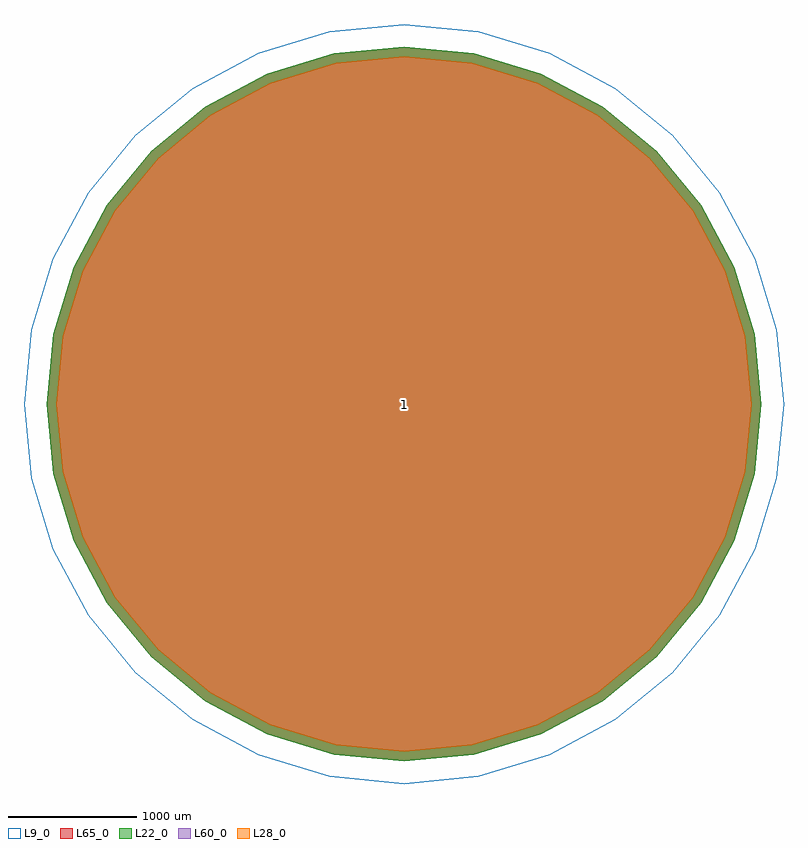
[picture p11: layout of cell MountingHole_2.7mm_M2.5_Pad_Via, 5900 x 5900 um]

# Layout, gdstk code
import gdstk
lib = gdstk.Library(unit=1e-6, precision=1e-09)
def P(c, l, *ps):  # polygons
    for p in ps: c.add(gdstk.Polygon(p, *l))
L9_0 = (9, 0)
L22_0 = (22, 0)
L28_0 = (28, 0)
L60_0 = (60, 0)
L65_0 = (65, 0)

mountinghole_2_7mm_m2_5_ = lib.new_cell('MountingHole_2.7mm_M2.5_Pad_Via')
P(mountinghole_2_7mm_m2_5_, L9_0, [(2950,0),(2893.317,575.516),(2725.445,1128.916),(2452.835,1638.932),(2085.965,2085.965),(1638.932,2452.835),(1128.916,2725.445),(575.516,2893.317),(0,2950),(-575.516,2893.317),(-1128.916,2725.445),(-1638.932,2452.835),(-2085.965,2085.965),(-2452.835,1638.932),(-2725.445,1128.916),(-2893.317,575.516),(-2950,0),(-2893.317,-575.516),(-2725.445,-1128.916),(-2452.835,-1638.932),(-2085.965,-2085.965),(-1638.932,-2452.835),(-1128.916,-2725.445),(-575.516,-2893.317),(0,-2950),(575.516,-2893.317),(1128.916,-2725.445),(1638.932,-2452.835),(2085.965,-2085.965),(2452.835,-1638.932),(2725.445,-1128.916),(2893.317,-575.516)],
  [(2700,0),(2648.12,526.744),(2494.475,1033.245),(2244.968,1500.04),(1909.188,1909.188),(1500.04,2244.968),(1033.245,2494.475),(526.744,2648.12),(0,2700),(-526.744,2648.12),(-1033.245,2494.475),(-1500.04,2244.968),(-1909.188,1909.188),(-2244.968,1500.04),(-2494.475,1033.245),(-2648.12,526.744),(-2700,0),(-2648.12,-526.744),(-2494.475,-1033.245),(-2244.968,-1500.04),(-1909.188,-1909.188),(-1500.04,-2244.968),(-1033.245,-2494.475),(-526.744,-2648.12),(0,-2700),(526.744,-2648.12),(1033.245,-2494.475),(1500.04,-2244.968),(1909.188,-1909.188),(2244.968,-1500.04),(2494.475,-1033.245),(2648.12,-526.744)])
P(mountinghole_2_7mm_m2_5_, L22_0, [(1806.891,1431.891),(1799.685,1505.05),(1778.346,1575.397),(1743.692,1640.23),(1697.056,1697.056),(1640.23,1743.692),(1575.397,1778.346),(1505.05,1799.685),(1431.891,1806.891),(1358.732,1799.685),(1288.385,1778.346),(1223.552,1743.692),(1166.726,1697.056),(1120.09,1640.23),(1085.436,1575.397),(1064.097,1505.05),(1056.891,1431.891),(1064.097,1358.732),(1085.436,1288.385),(1120.09,1223.552),(1166.726,1166.726),(1223.552,1120.09),(1288.385,1085.436),(1358.732,1064.097),(1431.891,1056.891),(1505.05,1064.097),(1575.397,1085.436),(1640.23,1120.09),(1697.056,1166.726),(1743.692,1223.552),(1778.346,1288.385),(1799.685,1358.732)],
  [(375,2025),(367.794,2098.159),(346.455,2168.506),(311.801,2233.339),(265.165,2290.165),(208.339,2336.801),(143.506,2371.455),(73.159,2392.794),(0,2400),(-73.159,2392.794),(-143.506,2371.455),(-208.339,2336.801),(-265.165,2290.165),(-311.801,2233.339),(-346.455,2168.506),(-367.794,2098.159),(-375,2025),(-367.794,1951.841),(-346.455,1881.494),(-311.801,1816.661),(-265.165,1759.835),(-208.339,1713.199),(-143.506,1678.545),(-73.159,1657.206),(0,1650),(73.159,1657.206),(143.506,1678.545),(208.339,1713.199),(265.165,1759.835),(311.801,1816.661),(346.455,1881.494),(367.794,1951.841)],
  [(-1056.891,1431.891),(-1064.097,1505.05),(-1085.436,1575.397),(-1120.09,1640.23),(-1166.726,1697.056),(-1223.552,1743.692),(-1288.385,1778.346),(-1358.732,1799.685),(-1431.891,1806.891),(-1505.05,1799.685),(-1575.397,1778.346),(-1640.23,1743.692),(-1697.056,1697.056),(-1743.692,1640.23),(-1778.346,1575.397),(-1799.685,1505.05),(-1806.891,1431.891),(-1799.685,1358.732),(-1778.346,1288.385),(-1743.692,1223.552),(-1697.056,1166.726),(-1640.23,1120.09),(-1575.397,1085.436),(-1505.05,1064.097),(-1431.891,1056.891),(-1358.732,1064.097),(-1288.385,1085.436),(-1223.552,1120.09),(-1166.726,1166.726),(-1120.09,1223.552),(-1085.436,1288.385),(-1064.097,1358.732)],
  [(-1650,0),(-1657.206,73.159),(-1678.545,143.506),(-1713.199,208.339),(-1759.835,265.165),(-1816.661,311.801),(-1881.494,346.455),(-1951.841,367.794),(-2025,375),(-2098.159,367.794),(-2168.506,346.455),(-2233.339,311.801),(-2290.165,265.165),(-2336.801,208.339),(-2371.455,143.506),(-2392.794,73.159),(-2400,0),(-2392.794,-73.159),(-2371.455,-143.506),(-2336.801,-208.339),(-2290.165,-265.165),(-2233.339,-311.801),(-2168.506,-346.455),(-2098.159,-367.794),(-2025,-375),(-1951.841,-367.794),(-1881.494,-346.455),(-1816.661,-311.801),(-1759.835,-265.165),(-1713.199,-208.339),(-1678.545,-143.506),(-1657.206,-73.159)],
  [(-1056.891,-1431.891),(-1064.097,-1358.732),(-1085.436,-1288.385),(-1120.09,-1223.552),(-1166.726,-1166.726),(-1223.552,-1120.09),(-1288.385,-1085.436),(-1358.732,-1064.097),(-1431.891,-1056.891),(-1505.05,-1064.097),(-1575.397,-1085.436),(-1640.23,-1120.09),(-1697.056,-1166.726),(-1743.692,-1223.552),(-1778.346,-1288.385),(-1799.685,-1358.732),(-1806.891,-1431.891),(-1799.685,-1505.05),(-1778.346,-1575.397),(-1743.692,-1640.23),(-1697.056,-1697.056),(-1640.23,-1743.692),(-1575.397,-1778.346),(-1505.05,-1799.685),(-1431.891,-1806.891),(-1358.732,-1799.685),(-1288.385,-1778.346),(-1223.552,-1743.692),(-1166.726,-1697.056),(-1120.09,-1640.23),(-1085.436,-1575.397),(-1064.097,-1505.05)],
  [(375,-2025),(367.794,-1951.841),(346.455,-1881.494),(311.801,-1816.661),(265.165,-1759.835),(208.339,-1713.199),(143.506,-1678.545),(73.159,-1657.206),(0,-1650),(-73.159,-1657.206),(-143.506,-1678.545),(-208.339,-1713.199),(-265.165,-1759.835),(-311.801,-1816.661),(-346.455,-1881.494),(-367.794,-1951.841),(-375,-2025),(-367.794,-2098.159),(-346.455,-2168.506),(-311.801,-2233.339),(-265.165,-2290.165),(-208.339,-2336.801),(-143.506,-2371.455),(-73.159,-2392.794),(0,-2400),(73.159,-2392.794),(143.506,-2371.455),(208.339,-2336.801),(265.165,-2290.165),(311.801,-2233.339),(346.455,-2168.506),(367.794,-2098.159)],
  [(1806.891,-1431.891),(1799.685,-1358.732),(1778.346,-1288.385),(1743.692,-1223.552),(1697.056,-1166.726),(1640.23,-1120.09),(1575.397,-1085.436),(1505.05,-1064.097),(1431.891,-1056.891),(1358.732,-1064.097),(1288.385,-1085.436),(1223.552,-1120.09),(1166.726,-1166.726),(1120.09,-1223.552),(1085.436,-1288.385),(1064.097,-1358.732),(1056.891,-1431.891),(1064.097,-1505.05),(1085.436,-1575.397),(1120.09,-1640.23),(1166.726,-1697.056),(1223.552,-1743.692),(1288.385,-1778.346),(1358.732,-1799.685),(1431.891,-1806.891),(1505.05,-1799.685),(1575.397,-1778.346),(1640.23,-1743.692),(1697.056,-1697.056),(1743.692,-1640.23),(1778.346,-1575.397),(1799.685,-1505.05)],
  [(2400,0),(2392.794,73.159),(2371.455,143.506),(2336.801,208.339),(2290.165,265.165),(2233.339,311.801),(2168.506,346.455),(2098.159,367.794),(2025,375),(1951.841,367.794),(1881.494,346.455),(1816.661,311.801),(1759.835,265.165),(1713.199,208.339),(1678.545,143.506),(1657.206,73.159),(1650,0),(1657.206,-73.159),(1678.545,-143.506),(1713.199,-208.339),(1759.835,-265.165),(1816.661,-311.801),(1881.494,-346.455),(1951.841,-367.794),(2025,-375),(2098.159,-367.794),(2168.506,-346.455),(2233.339,-311.801),(2290.165,-265.165),(2336.801,-208.339),(2371.455,-143.506),(2392.794,-73.159)],
  [(2775,0),(2721.679,541.376),(2563.766,1061.947),(2307.328,1541.707),(1962.221,1962.221),(1541.707,2307.328),(1061.947,2563.766),(541.376,2721.679),(0,2775),(-541.376,2721.679),(-1061.947,2563.766),(-1541.707,2307.328),(-1962.221,1962.221),(-2307.328,1541.707),(-2563.766,1061.947),(-2721.679,541.376),(-2775,0),(-2721.679,-541.376),(-2563.766,-1061.947),(-2307.328,-1541.707),(-1962.221,-1962.221),(-1541.707,-2307.328),(-1061.947,-2563.766),(-541.376,-2721.679),(0,-2775),(541.376,-2721.679),(1061.947,-2563.766),(1541.707,-2307.328),(1962.221,-1962.221),(2307.328,-1541.707),(2563.766,-1061.947),(2721.679,-541.376)])
P(mountinghole_2_7mm_m2_5_, L28_0, [(1731.891,1431.891),(1726.127,1490.418),(1709.055,1546.696),(1681.332,1598.562),(1644.023,1644.023),(1598.562,1681.332),(1546.696,1709.055),(1490.418,1726.127),(1431.891,1731.891),(1373.364,1726.127),(1317.086,1709.055),(1265.22,1681.332),(1219.759,1644.023),(1182.45,1598.562),(1154.727,1546.696),(1137.655,1490.418),(1131.891,1431.891),(1137.655,1373.364),(1154.727,1317.086),(1182.45,1265.22),(1219.759,1219.759),(1265.22,1182.45),(1317.086,1154.727),(1373.364,1137.655),(1431.891,1131.891),(1490.418,1137.655),(1546.696,1154.727),(1598.562,1182.45),(1644.023,1219.759),(1681.332,1265.22),(1709.055,1317.086),(1726.127,1373.364)],
  [(300,2025),(294.236,2083.527),(277.164,2139.805),(249.441,2191.671),(212.132,2237.132),(166.671,2274.441),(114.805,2302.164),(58.527,2319.236),(0,2325),(-58.527,2319.236),(-114.805,2302.164),(-166.671,2274.441),(-212.132,2237.132),(-249.441,2191.671),(-277.164,2139.805),(-294.236,2083.527),(-300,2025),(-294.236,1966.473),(-277.164,1910.195),(-249.441,1858.329),(-212.132,1812.868),(-166.671,1775.559),(-114.805,1747.836),(-58.527,1730.764),(0,1725),(58.527,1730.764),(114.805,1747.836),(166.671,1775.559),(212.132,1812.868),(249.441,1858.329),(277.164,1910.195),(294.236,1966.473)],
  [(-1131.891,1431.891),(-1137.655,1490.418),(-1154.727,1546.696),(-1182.45,1598.562),(-1219.759,1644.023),(-1265.22,1681.332),(-1317.086,1709.055),(-1373.364,1726.127),(-1431.891,1731.891),(-1490.418,1726.127),(-1546.696,1709.055),(-1598.562,1681.332),(-1644.023,1644.023),(-1681.332,1598.562),(-1709.055,1546.696),(-1726.127,1490.418),(-1731.891,1431.891),(-1726.127,1373.364),(-1709.055,1317.086),(-1681.332,1265.22),(-1644.023,1219.759),(-1598.562,1182.45),(-1546.696,1154.727),(-1490.418,1137.655),(-1431.891,1131.891),(-1373.364,1137.655),(-1317.086,1154.727),(-1265.22,1182.45),(-1219.759,1219.759),(-1182.45,1265.22),(-1154.727,1317.086),(-1137.655,1373.364)],
  [(-1725,0),(-1730.764,58.527),(-1747.836,114.805),(-1775.559,166.671),(-1812.868,212.132),(-1858.329,249.441),(-1910.195,277.164),(-1966.473,294.236),(-2025,300),(-2083.527,294.236),(-2139.805,277.164),(-2191.671,249.441),(-2237.132,212.132),(-2274.441,166.671),(-2302.164,114.805),(-2319.236,58.527),(-2325,0),(-2319.236,-58.527),(-2302.164,-114.805),(-2274.441,-166.671),(-2237.132,-212.132),(-2191.671,-249.441),(-2139.805,-277.164),(-2083.527,-294.236),(-2025,-300),(-1966.473,-294.236),(-1910.195,-277.164),(-1858.329,-249.441),(-1812.868,-212.132),(-1775.559,-166.671),(-1747.836,-114.805),(-1730.764,-58.527)],
  [(-1131.891,-1431.891),(-1137.655,-1373.364),(-1154.727,-1317.086),(-1182.45,-1265.22),(-1219.759,-1219.759),(-1265.22,-1182.45),(-1317.086,-1154.727),(-1373.364,-1137.655),(-1431.891,-1131.891),(-1490.418,-1137.655),(-1546.696,-1154.727),(-1598.562,-1182.45),(-1644.023,-1219.759),(-1681.332,-1265.22),(-1709.055,-1317.086),(-1726.127,-1373.364),(-1731.891,-1431.891),(-1726.127,-1490.418),(-1709.055,-1546.696),(-1681.332,-1598.562),(-1644.023,-1644.023),(-1598.562,-1681.332),(-1546.696,-1709.055),(-1490.418,-1726.127),(-1431.891,-1731.891),(-1373.364,-1726.127),(-1317.086,-1709.055),(-1265.22,-1681.332),(-1219.759,-1644.023),(-1182.45,-1598.562),(-1154.727,-1546.696),(-1137.655,-1490.418)],
  [(300,-2025),(294.236,-1966.473),(277.164,-1910.195),(249.441,-1858.329),(212.132,-1812.868),(166.671,-1775.559),(114.805,-1747.836),(58.527,-1730.764),(0,-1725),(-58.527,-1730.764),(-114.805,-1747.836),(-166.671,-1775.559),(-212.132,-1812.868),(-249.441,-1858.329),(-277.164,-1910.195),(-294.236,-1966.473),(-300,-2025),(-294.236,-2083.527),(-277.164,-2139.805),(-249.441,-2191.671),(-212.132,-2237.132),(-166.671,-2274.441),(-114.805,-2302.164),(-58.527,-2319.236),(0,-2325),(58.527,-2319.236),(114.805,-2302.164),(166.671,-2274.441),(212.132,-2237.132),(249.441,-2191.671),(277.164,-2139.805),(294.236,-2083.527)],
  [(1731.891,-1431.891),(1726.127,-1373.364),(1709.055,-1317.086),(1681.332,-1265.22),(1644.023,-1219.759),(1598.562,-1182.45),(1546.696,-1154.727),(1490.418,-1137.655),(1431.891,-1131.891),(1373.364,-1137.655),(1317.086,-1154.727),(1265.22,-1182.45),(1219.759,-1219.759),(1182.45,-1265.22),(1154.727,-1317.086),(1137.655,-1373.364),(1131.891,-1431.891),(1137.655,-1490.418),(1154.727,-1546.696),(1182.45,-1598.562),(1219.759,-1644.023),(1265.22,-1681.332),(1317.086,-1709.055),(1373.364,-1726.127),(1431.891,-1731.891),(1490.418,-1726.127),(1546.696,-1709.055),(1598.562,-1681.332),(1644.023,-1644.023),(1681.332,-1598.562),(1709.055,-1546.696),(1726.127,-1490.418)],
  [(2325,0),(2319.236,58.527),(2302.164,114.805),(2274.441,166.671),(2237.132,212.132),(2191.671,249.441),(2139.805,277.164),(2083.527,294.236),(2025,300),(1966.473,294.236),(1910.195,277.164),(1858.329,249.441),(1812.868,212.132),(1775.559,166.671),(1747.836,114.805),(1730.764,58.527),(1725,0),(1730.764,-58.527),(1747.836,-114.805),(1775.559,-166.671),(1812.868,-212.132),(1858.329,-249.441),(1910.195,-277.164),(1966.473,-294.236),(2025,-300),(2083.527,-294.236),(2139.805,-277.164),(2191.671,-249.441),(2237.132,-212.132),(2274.441,-166.671),(2302.164,-114.805),(2319.236,-58.527)],
  [(2700,0),(2648.12,526.744),(2494.475,1033.245),(2244.968,1500.04),(1909.188,1909.188),(1500.04,2244.968),(1033.245,2494.475),(526.744,2648.12),(0,2700),(-526.744,2648.12),(-1033.245,2494.475),(-1500.04,2244.968),(-1909.188,1909.188),(-2244.968,1500.04),(-2494.475,1033.245),(-2648.12,526.744),(-2700,0),(-2648.12,-526.744),(-2494.475,-1033.245),(-2244.968,-1500.04),(-1909.188,-1909.188),(-1500.04,-2244.968),(-1033.245,-2494.475),(-526.744,-2648.12),(0,-2700),(526.744,-2648.12),(1033.245,-2494.475),(1500.04,-2244.968),(1909.188,-1909.188),(2244.968,-1500.04),(2494.475,-1033.245),(2648.12,-526.744)])
P(mountinghole_2_7mm_m2_5_, L60_0, [(1731.891,1431.891),(1726.127,1490.418),(1709.055,1546.696),(1681.332,1598.562),(1644.023,1644.023),(1598.562,1681.332),(1546.696,1709.055),(1490.418,1726.127),(1431.891,1731.891),(1373.364,1726.127),(1317.086,1709.055),(1265.22,1681.332),(1219.759,1644.023),(1182.45,1598.562),(1154.727,1546.696),(1137.655,1490.418),(1131.891,1431.891),(1137.655,1373.364),(1154.727,1317.086),(1182.45,1265.22),(1219.759,1219.759),(1265.22,1182.45),(1317.086,1154.727),(1373.364,1137.655),(1431.891,1131.891),(1490.418,1137.655),(1546.696,1154.727),(1598.562,1182.45),(1644.023,1219.759),(1681.332,1265.22),(1709.055,1317.086),(1726.127,1373.364)],
  [(300,2025),(294.236,2083.527),(277.164,2139.805),(249.441,2191.671),(212.132,2237.132),(166.671,2274.441),(114.805,2302.164),(58.527,2319.236),(0,2325),(-58.527,2319.236),(-114.805,2302.164),(-166.671,2274.441),(-212.132,2237.132),(-249.441,2191.671),(-277.164,2139.805),(-294.236,2083.527),(-300,2025),(-294.236,1966.473),(-277.164,1910.195),(-249.441,1858.329),(-212.132,1812.868),(-166.671,1775.559),(-114.805,1747.836),(-58.527,1730.764),(0,1725),(58.527,1730.764),(114.805,1747.836),(166.671,1775.559),(212.132,1812.868),(249.441,1858.329),(277.164,1910.195),(294.236,1966.473)],
  [(-1131.891,1431.891),(-1137.655,1490.418),(-1154.727,1546.696),(-1182.45,1598.562),(-1219.759,1644.023),(-1265.22,1681.332),(-1317.086,1709.055),(-1373.364,1726.127),(-1431.891,1731.891),(-1490.418,1726.127),(-1546.696,1709.055),(-1598.562,1681.332),(-1644.023,1644.023),(-1681.332,1598.562),(-1709.055,1546.696),(-1726.127,1490.418),(-1731.891,1431.891),(-1726.127,1373.364),(-1709.055,1317.086),(-1681.332,1265.22),(-1644.023,1219.759),(-1598.562,1182.45),(-1546.696,1154.727),(-1490.418,1137.655),(-1431.891,1131.891),(-1373.364,1137.655),(-1317.086,1154.727),(-1265.22,1182.45),(-1219.759,1219.759),(-1182.45,1265.22),(-1154.727,1317.086),(-1137.655,1373.364)],
  [(-1725,0),(-1730.764,58.527),(-1747.836,114.805),(-1775.559,166.671),(-1812.868,212.132),(-1858.329,249.441),(-1910.195,277.164),(-1966.473,294.236),(-2025,300),(-2083.527,294.236),(-2139.805,277.164),(-2191.671,249.441),(-2237.132,212.132),(-2274.441,166.671),(-2302.164,114.805),(-2319.236,58.527),(-2325,0),(-2319.236,-58.527),(-2302.164,-114.805),(-2274.441,-166.671),(-2237.132,-212.132),(-2191.671,-249.441),(-2139.805,-277.164),(-2083.527,-294.236),(-2025,-300),(-1966.473,-294.236),(-1910.195,-277.164),(-1858.329,-249.441),(-1812.868,-212.132),(-1775.559,-166.671),(-1747.836,-114.805),(-1730.764,-58.527)],
  [(-1131.891,-1431.891),(-1137.655,-1373.364),(-1154.727,-1317.086),(-1182.45,-1265.22),(-1219.759,-1219.759),(-1265.22,-1182.45),(-1317.086,-1154.727),(-1373.364,-1137.655),(-1431.891,-1131.891),(-1490.418,-1137.655),(-1546.696,-1154.727),(-1598.562,-1182.45),(-1644.023,-1219.759),(-1681.332,-1265.22),(-1709.055,-1317.086),(-1726.127,-1373.364),(-1731.891,-1431.891),(-1726.127,-1490.418),(-1709.055,-1546.696),(-1681.332,-1598.562),(-1644.023,-1644.023),(-1598.562,-1681.332),(-1546.696,-1709.055),(-1490.418,-1726.127),(-1431.891,-1731.891),(-1373.364,-1726.127),(-1317.086,-1709.055),(-1265.22,-1681.332),(-1219.759,-1644.023),(-1182.45,-1598.562),(-1154.727,-1546.696),(-1137.655,-1490.418)],
  [(300,-2025),(294.236,-1966.473),(277.164,-1910.195),(249.441,-1858.329),(212.132,-1812.868),(166.671,-1775.559),(114.805,-1747.836),(58.527,-1730.764),(0,-1725),(-58.527,-1730.764),(-114.805,-1747.836),(-166.671,-1775.559),(-212.132,-1812.868),(-249.441,-1858.329),(-277.164,-1910.195),(-294.236,-1966.473),(-300,-2025),(-294.236,-2083.527),(-277.164,-2139.805),(-249.441,-2191.671),(-212.132,-2237.132),(-166.671,-2274.441),(-114.805,-2302.164),(-58.527,-2319.236),(0,-2325),(58.527,-2319.236),(114.805,-2302.164),(166.671,-2274.441),(212.132,-2237.132),(249.441,-2191.671),(277.164,-2139.805),(294.236,-2083.527)],
  [(1731.891,-1431.891),(1726.127,-1373.364),(1709.055,-1317.086),(1681.332,-1265.22),(1644.023,-1219.759),(1598.562,-1182.45),(1546.696,-1154.727),(1490.418,-1137.655),(1431.891,-1131.891),(1373.364,-1137.655),(1317.086,-1154.727),(1265.22,-1182.45),(1219.759,-1219.759),(1182.45,-1265.22),(1154.727,-1317.086),(1137.655,-1373.364),(1131.891,-1431.891),(1137.655,-1490.418),(1154.727,-1546.696),(1182.45,-1598.562),(1219.759,-1644.023),(1265.22,-1681.332),(1317.086,-1709.055),(1373.364,-1726.127),(1431.891,-1731.891),(1490.418,-1726.127),(1546.696,-1709.055),(1598.562,-1681.332),(1644.023,-1644.023),(1681.332,-1598.562),(1709.055,-1546.696),(1726.127,-1490.418)],
  [(2325,0),(2319.236,58.527),(2302.164,114.805),(2274.441,166.671),(2237.132,212.132),(2191.671,249.441),(2139.805,277.164),(2083.527,294.236),(2025,300),(1966.473,294.236),(1910.195,277.164),(1858.329,249.441),(1812.868,212.132),(1775.559,166.671),(1747.836,114.805),(1730.764,58.527),(1725,0),(1730.764,-58.527),(1747.836,-114.805),(1775.559,-166.671),(1812.868,-212.132),(1858.329,-249.441),(1910.195,-277.164),(1966.473,-294.236),(2025,-300),(2083.527,-294.236),(2139.805,-277.164),(2191.671,-249.441),(2237.132,-212.132),(2274.441,-166.671),(2302.164,-114.805),(2319.236,-58.527)],
  [(2700,0),(2648.12,526.744),(2494.475,1033.245),(2244.968,1500.04),(1909.188,1909.188),(1500.04,2244.968),(1033.245,2494.475),(526.744,2648.12),(0,2700),(-526.744,2648.12),(-1033.245,2494.475),(-1500.04,2244.968),(-1909.188,1909.188),(-2244.968,1500.04),(-2494.475,1033.245),(-2648.12,526.744),(-2700,0),(-2648.12,-526.744),(-2494.475,-1033.245),(-2244.968,-1500.04),(-1909.188,-1909.188),(-1500.04,-2244.968),(-1033.245,-2494.475),(-526.744,-2648.12),(0,-2700),(526.744,-2648.12),(1033.245,-2494.475),(1500.04,-2244.968),(1909.188,-1909.188),(2244.968,-1500.04),(2494.475,-1033.245),(2648.12,-526.744)])
P(mountinghole_2_7mm_m2_5_, L65_0, [(1806.891,1431.891),(1799.685,1505.05),(1778.346,1575.397),(1743.692,1640.23),(1697.056,1697.056),(1640.23,1743.692),(1575.397,1778.346),(1505.05,1799.685),(1431.891,1806.891),(1358.732,1799.685),(1288.385,1778.346),(1223.552,1743.692),(1166.726,1697.056),(1120.09,1640.23),(1085.436,1575.397),(1064.097,1505.05),(1056.891,1431.891),(1064.097,1358.732),(1085.436,1288.385),(1120.09,1223.552),(1166.726,1166.726),(1223.552,1120.09),(1288.385,1085.436),(1358.732,1064.097),(1431.891,1056.891),(1505.05,1064.097),(1575.397,1085.436),(1640.23,1120.09),(1697.056,1166.726),(1743.692,1223.552),(1778.346,1288.385),(1799.685,1358.732)],
  [(375,2025),(367.794,2098.159),(346.455,2168.506),(311.801,2233.339),(265.165,2290.165),(208.339,2336.801),(143.506,2371.455),(73.159,2392.794),(0,2400),(-73.159,2392.794),(-143.506,2371.455),(-208.339,2336.801),(-265.165,2290.165),(-311.801,2233.339),(-346.455,2168.506),(-367.794,2098.159),(-375,2025),(-367.794,1951.841),(-346.455,1881.494),(-311.801,1816.661),(-265.165,1759.835),(-208.339,1713.199),(-143.506,1678.545),(-73.159,1657.206),(0,1650),(73.159,1657.206),(143.506,1678.545),(208.339,1713.199),(265.165,1759.835),(311.801,1816.661),(346.455,1881.494),(367.794,1951.841)],
  [(-1056.891,1431.891),(-1064.097,1505.05),(-1085.436,1575.397),(-1120.09,1640.23),(-1166.726,1697.056),(-1223.552,1743.692),(-1288.385,1778.346),(-1358.732,1799.685),(-1431.891,1806.891),(-1505.05,1799.685),(-1575.397,1778.346),(-1640.23,1743.692),(-1697.056,1697.056),(-1743.692,1640.23),(-1778.346,1575.397),(-1799.685,1505.05),(-1806.891,1431.891),(-1799.685,1358.732),(-1778.346,1288.385),(-1743.692,1223.552),(-1697.056,1166.726),(-1640.23,1120.09),(-1575.397,1085.436),(-1505.05,1064.097),(-1431.891,1056.891),(-1358.732,1064.097),(-1288.385,1085.436),(-1223.552,1120.09),(-1166.726,1166.726),(-1120.09,1223.552),(-1085.436,1288.385),(-1064.097,1358.732)],
  [(-1650,0),(-1657.206,73.159),(-1678.545,143.506),(-1713.199,208.339),(-1759.835,265.165),(-1816.661,311.801),(-1881.494,346.455),(-1951.841,367.794),(-2025,375),(-2098.159,367.794),(-2168.506,346.455),(-2233.339,311.801),(-2290.165,265.165),(-2336.801,208.339),(-2371.455,143.506),(-2392.794,73.159),(-2400,0),(-2392.794,-73.159),(-2371.455,-143.506),(-2336.801,-208.339),(-2290.165,-265.165),(-2233.339,-311.801),(-2168.506,-346.455),(-2098.159,-367.794),(-2025,-375),(-1951.841,-367.794),(-1881.494,-346.455),(-1816.661,-311.801),(-1759.835,-265.165),(-1713.199,-208.339),(-1678.545,-143.506),(-1657.206,-73.159)],
  [(-1056.891,-1431.891),(-1064.097,-1358.732),(-1085.436,-1288.385),(-1120.09,-1223.552),(-1166.726,-1166.726),(-1223.552,-1120.09),(-1288.385,-1085.436),(-1358.732,-1064.097),(-1431.891,-1056.891),(-1505.05,-1064.097),(-1575.397,-1085.436),(-1640.23,-1120.09),(-1697.056,-1166.726),(-1743.692,-1223.552),(-1778.346,-1288.385),(-1799.685,-1358.732),(-1806.891,-1431.891),(-1799.685,-1505.05),(-1778.346,-1575.397),(-1743.692,-1640.23),(-1697.056,-1697.056),(-1640.23,-1743.692),(-1575.397,-1778.346),(-1505.05,-1799.685),(-1431.891,-1806.891),(-1358.732,-1799.685),(-1288.385,-1778.346),(-1223.552,-1743.692),(-1166.726,-1697.056),(-1120.09,-1640.23),(-1085.436,-1575.397),(-1064.097,-1505.05)],
  [(375,-2025),(367.794,-1951.841),(346.455,-1881.494),(311.801,-1816.661),(265.165,-1759.835),(208.339,-1713.199),(143.506,-1678.545),(73.159,-1657.206),(0,-1650),(-73.159,-1657.206),(-143.506,-1678.545),(-208.339,-1713.199),(-265.165,-1759.835),(-311.801,-1816.661),(-346.455,-1881.494),(-367.794,-1951.841),(-375,-2025),(-367.794,-2098.159),(-346.455,-2168.506),(-311.801,-2233.339),(-265.165,-2290.165),(-208.339,-2336.801),(-143.506,-2371.455),(-73.159,-2392.794),(0,-2400),(73.159,-2392.794),(143.506,-2371.455),(208.339,-2336.801),(265.165,-2290.165),(311.801,-2233.339),(346.455,-2168.506),(367.794,-2098.159)],
  [(1806.891,-1431.891),(1799.685,-1358.732),(1778.346,-1288.385),(1743.692,-1223.552),(1697.056,-1166.726),(1640.23,-1120.09),(1575.397,-1085.436),(1505.05,-1064.097),(1431.891,-1056.891),(1358.732,-1064.097),(1288.385,-1085.436),(1223.552,-1120.09),(1166.726,-1166.726),(1120.09,-1223.552),(1085.436,-1288.385),(1064.097,-1358.732),(1056.891,-1431.891),(1064.097,-1505.05),(1085.436,-1575.397),(1120.09,-1640.23),(1166.726,-1697.056),(1223.552,-1743.692),(1288.385,-1778.346),(1358.732,-1799.685),(1431.891,-1806.891),(1505.05,-1799.685),(1575.397,-1778.346),(1640.23,-1743.692),(1697.056,-1697.056),(1743.692,-1640.23),(1778.346,-1575.397),(1799.685,-1505.05)],
  [(2400,0),(2392.794,73.159),(2371.455,143.506),(2336.801,208.339),(2290.165,265.165),(2233.339,311.801),(2168.506,346.455),(2098.159,367.794),(2025,375),(1951.841,367.794),(1881.494,346.455),(1816.661,311.801),(1759.835,265.165),(1713.199,208.339),(1678.545,143.506),(1657.206,73.159),(1650,0),(1657.206,-73.159),(1678.545,-143.506),(1713.199,-208.339),(1759.835,-265.165),(1816.661,-311.801),(1881.494,-346.455),(1951.841,-367.794),(2025,-375),(2098.159,-367.794),(2168.506,-346.455),(2233.339,-311.801),(2290.165,-265.165),(2336.801,-208.339),(2371.455,-143.506),(2392.794,-73.159)],
  [(2775,0),(2721.679,541.376),(2563.766,1061.947),(2307.328,1541.707),(1962.221,1962.221),(1541.707,2307.328),(1061.947,2563.766),(541.376,2721.679),(0,2775),(-541.376,2721.679),(-1061.947,2563.766),(-1541.707,2307.328),(-1962.221,1962.221),(-2307.328,1541.707),(-2563.766,1061.947),(-2721.679,541.376),(-2775,0),(-2721.679,-541.376),(-2563.766,-1061.947),(-2307.328,-1541.707),(-1962.221,-1962.221),(-1541.707,-2307.328),(-1061.947,-2563.766),(-541.376,-2721.679),(0,-2775),(541.376,-2721.679),(1061.947,-2563.766),(1541.707,-2307.328),(1962.221,-1962.221),(2307.328,-1541.707),(2563.766,-1061.947),(2721.679,-541.376)])
mountinghole_2_7mm_m2_5_.add(gdstk.Label('1', (0,0), layer=28, texttype=0))
mountinghole_2_7mm_m2_5_.add(gdstk.Label('type', (0,-3700), layer=9, texttype=0))
mountinghole_2_7mm_m2_5_.add(gdstk.Label('devicename', (0,3700), layer=9, texttype=0))

lib.write_gds('MountingHole_2.7mm_M2.5_Pad_Via.gds')
